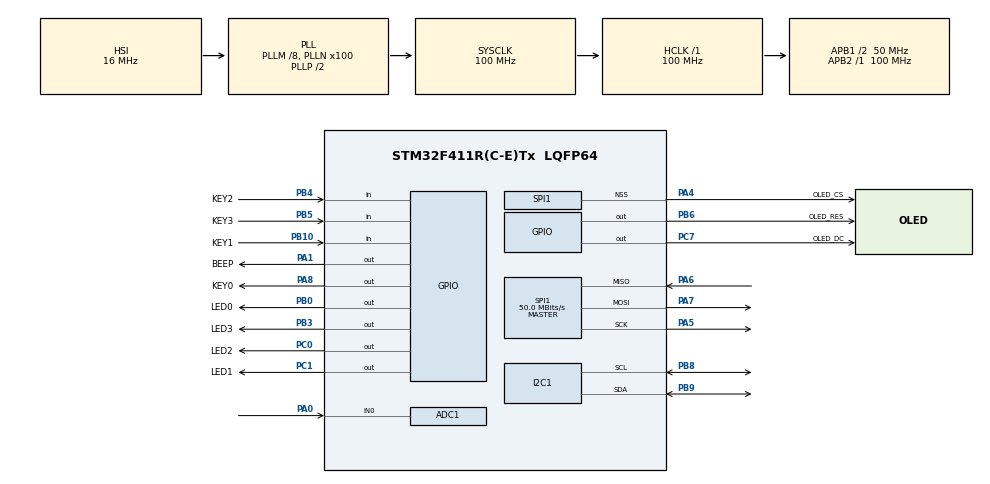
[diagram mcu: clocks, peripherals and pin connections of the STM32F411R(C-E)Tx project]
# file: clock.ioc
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ADC1.Channel-1\#ChannelRegularConversion=ADC_CHANNEL_0
ADC1.NbrOfConversionFlag=1
ADC1.Rank-1\#ChannelRegularConversion=1
ADC1.SamplingTime-1\#ChannelRegularConversion=ADC_SAMPLETIME_3CYCLES
ADC1.master=1
Dma.ADC1.0.Direction=DMA_PERIPH_TO_MEMORY
Dma.ADC1.0.FIFOMode=DMA_FIFOMODE_DISABLE
Dma.ADC1.0.Instance=DMA2_Stream0
Dma.ADC1.0.MemDataAlignment=DMA_MDATAALIGN_HALFWORD
Dma.ADC1.0.MemInc=DMA_MINC_ENABLE
Dma.ADC1.0.Mode=DMA_CIRCULAR
Dma.ADC1.0.PeriphDataAlignment=DMA_PDATAALIGN_HALFWORD
Dma.ADC1.0.PeriphInc=DMA_PINC_DISABLE
Dma.ADC1.0.Priority=DMA_PRIORITY_LOW
Dma.Request0=ADC1
Mcu.Family=STM32F4
Mcu.Name=STM32F411R(C-E)Tx
Mcu.Package=LQFP64
NVIC.DMA2_Stream0_IRQn=true\:0\:0\:false\:false\:true\:false\:true\:true
NVIC.PriorityGroup=NVIC_PRIORITYGROUP_4
NVIC.TIM1_TRG_COM_TIM11_IRQn=true\:0\:0\:false\:false\:true\:true\:true\:true
NVIC.TIM1_UP_TIM10_IRQn=true\:0\:0\:false\:false\:true\:true\:true\:true
PA0-WKUP.Signal=ADCx_IN0
PA1.GPIO_Label=BEEP
PA1.Signal=GPIO_Output
PA13.Mode=Serial_Wire
PA13.Signal=SYS_JTMS-SWDIO
PA14.Mode=Serial_Wire
PA14.Signal=SYS_JTCK-SWCLK
PA4.GPIO_Label=OLED_CS
PA4.Mode=NSS_Signal_Hard_Output
PA4.Signal=SPI1_NSS
PA5.Mode=Full_Duplex_Master
PA5.Signal=SPI1_SCK
PA6.Mode=Full_Duplex_Master
PA6.Signal=SPI1_MISO
PA7.Mode=Full_Duplex_Master
PA7.Signal=SPI1_MOSI
PA8.GPIO_Label=KEY0
PA8.Signal=GPIO_Output
PB0.GPIO_Label=LED0
PB0.Signal=GPIO_Output
PB10.GPIO_Label=KEY1
PB10.Signal=GPIO_Input
PB3.GPIO_Label=LED3
PB3.Signal=GPIO_Output
PB4.GPIO_Label=KEY2
PB4.Signal=GPIO_Input
PB5.GPIO_Label=KEY3
PB5.Signal=GPIO_Input
PB6.GPIO_Label=OLED_RES
PB6.Signal=GPIO_Output
PB8.Mode=I2C
PB8.Signal=I2C1_SCL
PB9.Mode=I2C
PB9.Signal=I2C1_SDA
PC0.GPIO_Label=LED2
PC0.Signal=GPIO_Output
PC1.GPIO_Label=LED1
PC1.Signal=GPIO_Output
PC7.GPIO_Label=OLED_DC
PC7.Signal=GPIO_Output
PH0\ -\ OSC_IN.Mode=HSE-External-Clock-Source
PH0\ -\ OSC_IN.Signal=RCC_OSC_IN
PH1\ -\ OSC_OUT.Mode=HSE-External-Clock-Source
PH1\ -\ OSC_OUT.Signal=RCC_OSC_OUT
ProjectManager.HeapSize=0x200
ProjectManager.StackSize=0x400
ProjectManager.TargetToolchain=MDK-ARM V5.32
RCC.48MHZClocksFreq_Value=50000000
RCC.AHBFreq_Value=100000000
RCC.APB1CLKDivider=RCC_HCLK_DIV2
RCC.APB1Freq_Value=50000000
RCC.APB1TimFreq_Value=100000000
RCC.APB2Freq_Value=100000000
RCC.APB2TimFreq_Value=100000000
RCC.CortexFreq_Value=100000000
RCC.HCLKFreq_Value=100000000
RCC.HSE_VALUE=8000000
RCC.HSI_VALUE=16000000
RCC.LSE_VALUE=32768
RCC.PLLM=8
RCC.PLLN=100
RCC.SYSCLKFreq_VALUE=100000000
RCC.SYSCLKSource=RCC_SYSCLKSOURCE_PLLCLK
RCC.VCOOutputFreq_Value=200000000
SH.ADCx_IN0.0=ADC1_IN0,IN0
SPI1.CalculateBaudRate=50.0 MBits/s
SPI1.Direction=SPI_DIRECTION_2LINES
SPI1.Mode=SPI_MODE_MASTER
SPI1.VirtualNSS=VM_NSSHARD
SPI1.VirtualType=VM_MASTER
TIM10.Period=9999
TIM10.Prescaler=9999
TIM11.Period=49
TIM11.Prescaler=9999
VP_TIM10_VS_ClockSourceINT.Mode=Enable_Timer
VP_TIM11_VS_ClockSourceINT.Mode=Enable_Timer
board=custom

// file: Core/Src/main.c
/* USER CODE BEGIN Header */
/**
  ******************************************************************************
  * @file           : main.c
  * @brief          : Main program body
  ******************************************************************************
  * @attention
  *
  * Copyright (c) 2024 STMicroelectronics.
  * All rights reserved.
  *
  * This software is licensed under terms that can be found in the LICENSE file
  * in the root directory of this software component.
  * If no LICENSE file comes with this software, it is provided AS-IS.
  *
  ******************************************************************************
  */
/* USER CODE END Header */
#include "main.h"
#include "adc.h"
#include "dma.h"
#include "i2c.h"
#include "spi.h"
#include "tim.h"
#include "gpio.h"

/* USER CODE BEGIN Includes */
#include "time.h"
#include "LM75AD.h"
#include "MY_OLED.h"

/* USER CODE END Includes */

/* USER CODE BEGIN PV */
double temperature=0;//温度
volatile  float voltage=0;  //电压
char buffer[100];		//字符串缓存区
/* USER CODE END PV */

void SystemClock_Config(void);

/* USER CODE BEGIN 0 */

struct Button btn1;           //结构化按键
struct Button btn2;
struct Button btn3;
struct Button btn4;

/* USER CODE END 0 */

int main(void)
{

  /* MCU Configuration--------------------------------------------------------*/

  /* Reset of all peripherals, Initializes the Flash interface and the Systick. */
  HAL_Init();

  /* Configure the system clock */
  SystemClock_Config();

  /* Initialize all configured peripherals */
  MX_GPIO_Init();
  MX_DMA_Init();
  MX_ADC1_Init();
  MX_I2C1_Init();
  MX_SPI1_Init();
  MX_TIM10_Init();
  MX_TIM11_Init();
  /* USER CODE BEGIN 2 */
		__HAL_TIM_CLEAR_IT(&htim10,TIM_IT_UPDATE);//清空定时器10中断标志（走时）
	HAL_TIM_Base_Start_IT(&htim10);//启动定时器
	__HAL_TIM_CLEAR_IT(&htim11,TIM_IT_UPDATE);//清空定时器4中断标志（检测按键）
	HAL_TIM_Base_Start_IT(&htim11);//启动定时器

	clock_init();                         //时间初始化

	button_init(&btn1, read_button_GPIO, 0, 0);
	button_init(&btn2, read_button_GPIO, 0, 1);
	button_init(&btn3, read_button_GPIO, 0, 2);
	button_init(&btn4, read_button_GPIO, 0, 3);    //初始化按键
	LM75AD_Init();																			//初始化温度
	OLED_Init();                                   //OLED初始化
	OLED_DisPlay_On();														//打开OLED
	button_attach(&btn1, SINGLE_CLICK, BTN1_SINGLE_Click_Handler);
	button_attach(&btn2, SINGLE_CLICK, BTN2_SINGLE_Click_Handler);
	button_attach(&btn3, SINGLE_CLICK, BTN3_SINGLE_Click_Handler);
	button_attach(&btn3, LONG_PRESS_START, BTN3_LONG_PRESS_START_Handler);
	button_attach(&btn4, SINGLE_CLICK, BTN4_SINGLE_Click_Handler);
	button_start(&btn1);
	button_start(&btn2);
	button_start(&btn3);
	button_start(&btn4);

  /* USER CODE END 2 */

  /* Infinite loop */
  while (1)
  {

    /* USER CODE BEGIN 3 */
 /*****************读取电压************************/
		HAL_ADC_Start(&hadc1);
		HAL_ADC_PollForConversion(&hadc1, 50);   //等待转换完成，50为最大等待时间，单位为ms
		if(HAL_IS_BIT_SET(HAL_ADC_GetState(&hadc1), HAL_ADC_STATE_REG_EOC))
		{
		voltage = HAL_ADC_GetValue(&hadc1)*3.3f/4096;   //获取AD值
		}
/******************读取温度************************/
		temperature = LM75AD_GetTemp();
/******************显示灯****************************/
		if(setflag )
		{
			HAL_GPIO_WritePin (LED3_GPIO_Port ,LED3_Pin ,GPIO_PIN_SET );
			if(set==0)
			{HAL_GPIO_WritePin (LED0_GPIO_Port ,LED0_Pin ,GPIO_PIN_SET );
			HAL_GPIO_WritePin (LED1_GPIO_Port ,LED1_Pin ,GPIO_PIN_RESET );
			HAL_GPIO_WritePin (LED2_GPIO_Port ,LED2_Pin ,GPIO_PIN_RESET );}
			else if(set==1)
			{HAL_GPIO_WritePin (LED1_GPIO_Port ,LED1_Pin ,GPIO_PIN_SET );
			HAL_GPIO_WritePin (LED0_GPIO_Port ,LED0_Pin ,GPIO_PIN_RESET );
			HAL_GPIO_WritePin (LED2_GPIO_Port ,LED2_Pin ,GPIO_PIN_RESET );}
			else
			{HAL_GPIO_WritePin (LED2_GPIO_Port ,LED2_Pin ,GPIO_PIN_SET );
			HAL_GPIO_WritePin (LED1_GPIO_Port ,LED1_Pin ,GPIO_PIN_RESET );
			HAL_GPIO_WritePin (LED0_GPIO_Port ,LED0_Pin ,GPIO_PIN_RESET );}
		}
		else
		{
			HAL_GPIO_WritePin (LED3_GPIO_Port ,LED3_Pin ,GPIO_PIN_RESET );
			HAL_GPIO_WritePin (LED0_GPIO_Port ,LED0_Pin ,GPIO_PIN_RESET );
			HAL_GPIO_WritePin (LED1_GPIO_Port ,LED1_Pin ,GPIO_PIN_RESET );
			HAL_GPIO_WritePin (LED2_GPIO_Port ,LED2_Pin ,GPIO_PIN_RESET );
		}
/********************蜂鸣器************************/
		if(clock.alarm_flag )
			{HAL_GPIO_WritePin (BEEP_GPIO_Port ,BEEP_Pin ,GPIO_PIN_SET);}
		else HAL_GPIO_WritePin (BEEP_GPIO_Port ,BEEP_Pin ,GPIO_PIN_RESET);
/*******************显示屏*************************/
		OLED_Refresh();														//刷新缓存
		if(select==0 )                             //显示当前时间
		{
			OLED_ShowChinese (0,0,27,16);
			OLED_ShowChinese (16,0,28,16);
		  sprintf(buffer,"%.2d",clock.time_hour);
			OLED_ShowStringPro(16,23,buffer,24);
			OLED_ShowStringPro(43,23,"_",16);
			sprintf(buffer,"%.2d",clock.time_minute);
			OLED_ShowStringPro(53,23,buffer,24);
			OLED_ShowStringPro(80,23,"_",16);
			sprintf(buffer,"%.2d",clock.time_second  );
			OLED_ShowStringPro(90,23,buffer,24);
		}
		else                                      //切换成闹钟
		{
			OLED_ShowChinese (0,0,31,16);
			OLED_ShowChinese (16,0,32,16);
			sprintf(buffer,"%.2d",clock.alarm_hour);
			OLED_ShowStringPro(16,23,buffer,24);
			OLED_ShowStringPro(43,23,"_",16);
			sprintf(buffer,"%.2d",clock.alarm_minute);
			OLED_ShowStringPro(53,23,buffer,24);
			OLED_ShowStringPro(80,23,"_",16);
			sprintf(buffer,"%.2d",clock.alarm_second  );
			OLED_ShowStringPro(90,23,buffer,24);
		}

		sprintf(buffer,"%.2f",voltage);
		OLED_ShowStringPro(25,49,buffer,16);
		OLED_ShowStringPro(10,49,"V:",16);//显示电压
		OLED_ShowStringPro(70,49,"T:",16);//显示温度
		sprintf(buffer,"%.1f",temperature);
		OLED_ShowStringPro(85,49,buffer,16);
		OLED_ShowChinese (96,0,44,16);
		OLED_ShowChinese (112,0,45,16);

  }
  /* USER CODE END 3 */
}

void SystemClock_Config(void)
{
  RCC_OscInitTypeDef RCC_OscInitStruct = {0};
  RCC_ClkInitTypeDef RCC_ClkInitStruct = {0};

  /** Configure the main internal regulator output voltage
  */
  __HAL_RCC_PWR_CLK_ENABLE();
  __HAL_PWR_VOLTAGESCALING_CONFIG(PWR_REGULATOR_VOLTAGE_SCALE1);

  /** Initializes the RCC Oscillators according to the specified parameters
  * in the RCC_OscInitTypeDef structure.
  */
  RCC_OscInitStruct.OscillatorType = RCC_OSCILLATORTYPE_HSI;
  RCC_OscInitStruct.HSIState = RCC_HSI_ON;
  RCC_OscInitStruct.HSICalibrationValue = RCC_HSICALIBRATION_DEFAULT;
  RCC_OscInitStruct.PLL.PLLState = RCC_PLL_ON;
  RCC_OscInitStruct.PLL.PLLSource = RCC_PLLSOURCE_HSI;
  RCC_OscInitStruct.PLL.PLLM = 8;
  RCC_OscInitStruct.PLL.PLLN = 100;
  RCC_OscInitStruct.PLL.PLLP = RCC_PLLP_DIV2;
  RCC_OscInitStruct.PLL.PLLQ = 4;
  if (HAL_RCC_OscConfig(&RCC_OscInitStruct) != HAL_OK)
  {
    Error_Handler();
  }

  /** Initializes the CPU, AHB and APB buses clocks
  */
  RCC_ClkInitStruct.ClockType = RCC_CLOCKTYPE_HCLK|RCC_CLOCKTYPE_SYSCLK
                              |RCC_CLOCKTYPE_PCLK1|RCC_CLOCKTYPE_PCLK2;
  RCC_ClkInitStruct.SYSCLKSource = RCC_SYSCLKSOURCE_PLLCLK;
  RCC_ClkInitStruct.AHBCLKDivider = RCC_SYSCLK_DIV1;
  RCC_ClkInitStruct.APB1CLKDivider = RCC_HCLK_DIV2;
  RCC_ClkInitStruct.APB2CLKDivider = RCC_HCLK_DIV1;

  if (HAL_RCC_ClockConfig(&RCC_ClkInitStruct, FLASH_LATENCY_3) != HAL_OK)
  {
    Error_Handler();
  }
}

void Error_Handler(void)
{
  __disable_irq();
  while (1)
  {
  }
}
